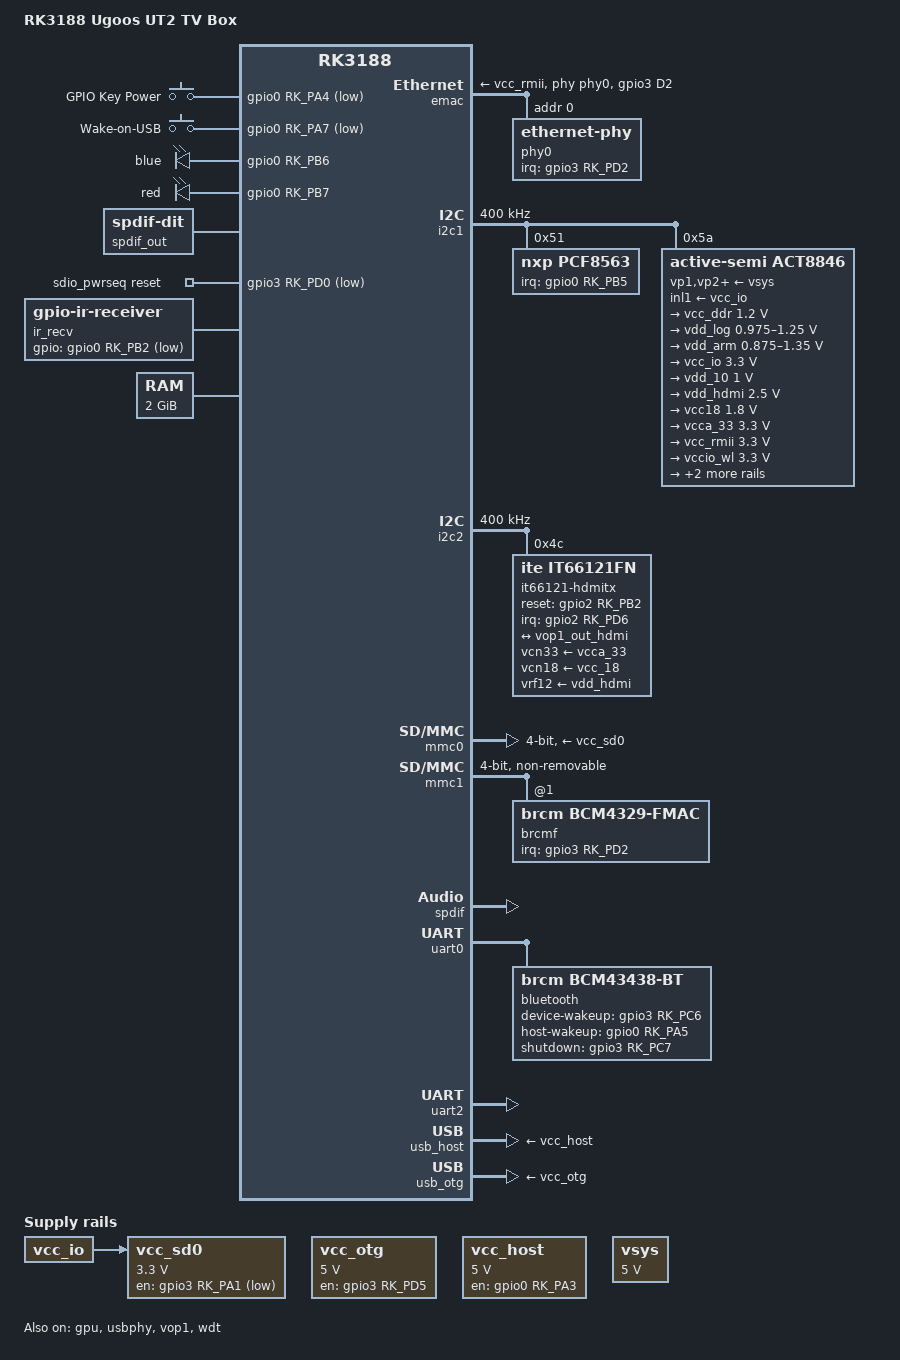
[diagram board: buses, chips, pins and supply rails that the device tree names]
// SPDX-License-Identifier: (GPL-2.0+ OR MIT)
/*
 * Copyright (c) 2013 Heiko Stuebner <heiko@sntech.de>
 */

/dts-v1/;
#include <dt-bindings/input/input.h>
#include "rk3188.dtsi"

/ {
	model = "RK3188 Ugoos UT2 TV Box";

	display-subsystem {
                compatible = "rockchip,display-subsystem";
                ports = <&vop1_out>;
        };

	gpio-keys {
		pinctrl-names = "default";
		pinctrl-0 = <&pwr_key &usb_int>;
		compatible = "gpio-keys";
		autorepeat;

		power {
			gpios = <&gpio0 RK_PA4 GPIO_ACTIVE_LOW>;
			linux,code = <KEY_POWER>;
			label = "GPIO Key Power";
			linux,input-type = <1>;
			wakeup-source;
			debounce-interval = <100>;
		};

		wake_on_usb: wake-on-usb {
			label = "Wake-on-USB";
			gpios = <&gpio0 RK_PA7 GPIO_ACTIVE_LOW>;
			linux,code = <KEY_WAKEUP>;
			wakeup-source;
		};
	};

	gpio-leds {
		compatible = "gpio-leds";

		blue {
			label = "blue";
			gpios = <&gpio0 RK_PB6 GPIO_ACTIVE_HIGH>;
			default-state = "on";
		};

		sleep {
			label = "red";
			gpios = <&gpio0 RK_PB7 GPIO_ACTIVE_HIGH>;
			default-state = "off";
		};
	};

	sound {
		compatible = "simple-audio-card";
		simple-audio-card,name = "SPDIF";

		simple-audio-card,dai-link@1 {  /* S/PDIF - S/PDIF */
			cpu { sound-dai = <&spdif>; };
			codec { sound-dai = <&spdif_out>; };
		};
	};

	spdif_out: spdif-out {
		compatible = "linux,spdif-dit";
		#sound-dai-cells = <0>;
	}

	sdio_pwrseq: sdio-pwrseq {
		compatible = "mmc-pwrseq-simple";
		clocks = <&pcf8563>;
		clock-names = "ext_clock";
		pinctrl-names = "default";
		pinctrl-0 = <&wifi_reg_on>;
		reset-gpios = <&gpio3 RK_PD0 GPIO_ACTIVE_LOW>;
	};

	ir_recv: gpio-ir-receiver {
		compatible = "gpio-ir-receiver";
		gpios = <&gpio0 RK_PB2 GPIO_ACTIVE_LOW>;
		pinctrl-names = "default";
		pinctrl-0 = <&ir_recv_pin>;
	};

	vcc_otg: usb-otg-regulator {
		compatible = "regulator-fixed";
		enable-active-high;
		gpio = <&gpio3 RK_PD5 GPIO_ACTIVE_HIGH>;
		pinctrl-names = "default";
		pinctrl-0 = <&otg_vbus_drv>;
		regulator-name = "otg-vbus";
		regulator-min-microvolt = <5000000>;
		regulator-max-microvolt = <5000000>;
	};

	vcc_sd0: sdmmc-regulator {
		compatible = "regulator-fixed";
		regulator-name = "sdmmc-supply";
		regulator-min-microvolt = <3300000>;
		regulator-max-microvolt = <3300000>;
		gpio = <&gpio3 RK_PA1 GPIO_ACTIVE_LOW>;
		pinctrl-names = "default";
		pinctrl-0 = <&sdmmc_pwr>;
		startup-delay-us = <100000>;
		vin-supply = <&vcc_io>;
	};

	vcc_host: usb-host-regulator {
		compatible = "regulator-fixed";
		enable-active-high;
		gpio = <&gpio0 RK_PA3 GPIO_ACTIVE_HIGH>;
		pinctrl-names = "default";
		pinctrl-0 = <&host_vbus_drv>;
		regulator-name = "host-pwr";
		regulator-min-microvolt = <5000000>;
		regulator-max-microvolt = <5000000>;
	};

	vsys: vsys-regulator {
		compatible = "regulator-fixed";
		regulator-name = "vsys";
		regulator-min-microvolt = <5000000>;
		regulator-max-microvolt = <5000000>;
		regulator-boot-on;
		regulator-always-on;
	};

	memory@60000000 {
                device_type = "memory";
                reg = <0x60000000 0x80000000>;
        };
};

&emac {
	status = "okay";

	pinctrl-names = "default";
	pinctrl-0 = <&emac_xfer>, <&emac_mdio>, <&phy_int>;

	phy = <&phy0>;
	phy-supply = <&vcc_rmii>;

	phy0: ethernet-phy@0 {
		reg = <0>;
		interrupt-parent = <&gpio3>;
		interrupts = <RK_PD2 IRQ_TYPE_LEVEL_LOW>;
	};
};

&cpu0 {
	cpu-supply = <&vdd_arm>;
};

&cpu1 {
	cpu-supply = <&vdd_arm>;
};

&cpu2 {
	cpu-supply = <&vdd_arm>;
};

&cpu3 {
	cpu-supply = <&vdd_arm>;
};

&cpu0_opp_table {
	/delete-node/ opp-1608000000;
};

&cru {

	assigned-clocks = <&cru PLL_GPLL>, <&cru PLL_CPLL>,
			  <&cru ACLK_CPU>,
			  <&cru HCLK_CPU>, <&cru PCLK_CPU>,
			  <&cru ACLK_PERI>, <&cru HCLK_PERI>,
			  <&cru PCLK_PERI>;
	assigned-clock-rates = <594000000>, <504000000>,
			       <300000000>,
			       <150000000>, <75000000>,
			       <300000000>, <150000000>,
			       <75000000>;

	pinctrl-names = "default";
        pinctrl-0 = <&power_on>;
};

&gpu {
	assigned-clocks = <&cru ACLK_GPU>;
	assigned-clock-rates = <300000000>;
	mali-supply = <&vdd_log>;
	status = "okay";
};

&i2c1 {
	status = "okay";
	clock-frequency = <400000>;

	pcf8563: rtc@51 {
		compatible = "nxp,pcf8563";
		reg = <0x51>;
		interrupt-parent = <&gpio0>;
		interrupts = <RK_PB5 IRQ_TYPE_EDGE_FALLING>;
		pinctrl-names = "default";
		pinctrl-0 = <&rtc_int>;
		#clock-cells = <0>;
		clock-output-names = "xin32k";
	};

	act8846: act8846@5a {
		compatible = "active-semi,act8846";
		reg = <0x5a>;
		status = "okay";
		system-power-controller;

		pinctrl-names = "default";
		pinctrl-0 = <&dvs0_ctl &pmic_int>;

		vp1-supply = <&vsys>;
		vp2-supply = <&vsys>;
		vp3-supply = <&vsys>;
		vp4-supply = <&vsys>;
		inl1-supply = <&vcc_io>;
		inl2-supply = <&vsys>;
		inl3-supply = <&vsys>;

		regulators {
			vcc_ddr: REG1 {
				regulator-name = "VCC_DDR";
				regulator-min-microvolt = <1200000>;
				regulator-max-microvolt = <1200000>;
				regulator-always-on;
			};

			vdd_log: REG2 {
				regulator-name = "VDD_LOG";
				regulator-min-microvolt = <975000>;
				regulator-max-microvolt = <1250000>;
				regulator-always-on;
			};

			vdd_arm: REG3 {
				regulator-name = "VDD_ARM";
				regulator-min-microvolt = <875000>;
				regulator-max-microvolt = <1350000>;
				regulator-always-on;
			};

			vcc_io: REG4 {
				regulator-name = "VCC_IO";
				regulator-min-microvolt = <3300000>;
				regulator-max-microvolt = <3300000>;
				regulator-always-on;
			};

			vdd_10: REG5 {
				regulator-name = "VDD_10";
				regulator-min-microvolt = <1000000>;
				regulator-max-microvolt = <1000000>;
				regulator-always-on;
			};

			vdd_hdmi: REG6 {
				regulator-name = "VDD_HDMI";
				regulator-min-microvolt = <2500000>;
				regulator-max-microvolt = <2500000>;
				regulator-always-on;
			};

			vcc18: REG7 {
				regulator-name = "VCC_18";
				regulator-min-microvolt = <1800000>;
				regulator-max-microvolt = <1800000>;
				regulator-always-on;
			};

			vcca_33: REG8 {
				regulator-name = "VCCA_33";
				regulator-min-microvolt = <3300000>;
				regulator-max-microvolt = <3300000>;
				regulator-always-on;
			};

			vcc_rmii: REG9 {
				regulator-name = "VCC_RMII";
				regulator-min-microvolt = <3300000>;
				regulator-max-microvolt = <3300000>;
			};

			vccio_wl: REG10 {
				regulator-name = "VCCIO_WL";
				regulator-min-microvolt = <3300000>;
				regulator-max-microvolt = <3300000>;
				regulator-always-on;
			};

			vcc_18: REG11 {
				regulator-name = "VCC18_IO";
				regulator-min-microvolt = <1800000>;
				regulator-max-microvolt = <1800000>;
				regulator-always-on;
			};

			vcc28: REG12 {
				regulator-name = "VCC_28";
				regulator-min-microvolt = <2800000>;
				regulator-max-microvolt = <2800000>;
				regulator-always-on;
			};
		};
	};
};

&i2c2 {
	clock-frequency = <400000>;
	status = "okay";

	#address-cells = <1>;
	#size-cells = <0>;
	it66121-hdmitx@4c {
		compatible = "ite,it66121fn";
		pinctrl-names = "default";
		pinctrl-0 = <&hdmi_rst &hdmi_int>;
		vcn33-supply = <&vcca_33>;
		vcn18-supply = <&vcc_18>;
		vrf12-supply = <&vdd_hdmi>;
		reset-gpios = <&gpio2 RK_PB2 GPIO_ACTIVE_HIGH>;
		interrupt-parent = <&gpio2>;
		interrupts = <RK_PD6 IRQ_TYPE_EDGE_FALLING>;
		reg = <0x4c>;

		ports {
			hdmi_in: port {
				#address-cells = <1>;
				#size-cells = <0>;
				hdmi_in_vop: endpoint@0 {
					reg = <0>;
					remote-endpoint = <&vop1_out_hdmi>;
				};
			};
		};
	};
};

&mmc0 {
	status = "okay";
	pinctrl-names = "default";
	pinctrl-0 = <&sd0_clk>, <&sd0_cmd>, <&sd0_cd>, <&sd0_bus4>;
	vmmc-supply = <&vcc_sd0>;
	bus-width = <4>;
	cap-mmc-highspeed;
	cap-sd-highspeed;
	disable-wp;
};

&mmc1 {
	bus-width = <4>;
	cap-sd-highspeed;
	keep-power-in-suspend;
	mmc-pwrseq = <&sdio_pwrseq>;
	non-removable;
	pinctrl-names = "default";
	pinctrl-0 = <&sd1_clk>, <&sd1_cmd>, <&sd1_bus4>;
	vmmcq-supply = <&vccio_wl>;
	#address-cells = <1>;
	#size-cells = <0>;
	status = "okay";

	brcmf: wifi@1 {
		reg = <1>;
		compatible = "brcm,bcm4329-fmac";
		interrupt-parent = <&gpio3>;
		interrupts = <RK_PD2 GPIO_ACTIVE_HIGH>;
		interrupt-names = "host-wake";
		brcm,drive-strength = <5>;
		pinctrl-names = "default";
		pinctrl-0 = <&wifi_host_wake>;
	};
};

&pinctrl {
	pcfg_output_high: pcfg-output-high {
		output-high;
	};

	pcfg_output_low: pcfg-output-low {
		output-low;
	};

	act8846 {
		dvs0_ctl: act8846-dvs0-ctl {
			rockchip,pins = <3 RK_PD3 RK_FUNC_GPIO &pcfg_output_low>;
		};

		pmic_int: pmic-int {
			rockchip,pins = <0 RK_PB3 RK_FUNC_GPIO &pcfg_pull_up>;
		};
	};

	keys {
		pwr_hold: pwr-hold {
			rockchip,pins = <0 RK_PA0 RK_FUNC_GPIO &pcfg_pull_up>;
		};

		pwr_key: pwr-key {
			rockchip,pins = <0 RK_PA4 RK_FUNC_GPIO &pcfg_pull_up>;
		};
	};

	ap6210 {
		bt_host_wake: bt-host-wake {
			rockchip,pins = <0 RK_PA5 RK_FUNC_GPIO &pcfg_pull_up>;
		};

		bt_reg_on: bt-reg-on {
			rockchip,pins = <3 RK_PC7 RK_FUNC_GPIO &pcfg_pull_none>;
		};

		/* pin hog to pull the reset high */
		bt_rst: bt-rst {
			rockchip,pins = <3 RK_PD1 RK_FUNC_GPIO &pcfg_output_high>;
		};

		bt_wake: bt-wake {
			rockchip,pins = <3 RK_PC6 RK_FUNC_GPIO &pcfg_pull_none>;
		};

		wifi_host_wake: wifi-host-wake {
			rockchip,pins = <3 RK_PD2 RK_FUNC_GPIO &pcfg_pull_up>;
		};

		wifi_reg_on: wifi-reg-on {
			rockchip,pins = <3 RK_PD0 RK_FUNC_GPIO &pcfg_pull_none>;
		};
	};

	lan8720a  {
		phy_int: phy-int {
			rockchip,pins = <3 RK_PD2 RK_FUNC_GPIO &pcfg_pull_up>;
		};
	};

	hdmi {
		hdmi_int: hdmi-int {
			rockchip,pins = <2 RK_PD6 RK_FUNC_GPIO &pcfg_pull_up>;
		};

		hdmi_rst: hdmi-rst {
			rockchip,pins = <3 RK_PB2 RK_FUNC_GPIO &pcfg_pull_none>;
		};
	};

	ir-receiver {
		ir_recv_pin: ir-recv-pin {
			rockchip,pins = <0 RK_PB2 RK_FUNC_GPIO &pcfg_pull_none>;
		};
	};

	pcf8563 {
		rtc_int: rtc-int {
			rockchip,pins = <0 RK_PB5 RK_FUNC_GPIO &pcfg_pull_up>;
		};
	};

	poweron {
		power_on: power-on {
                        rockchip,pins = <0 RK_PA0 RK_FUNC_GPIO &pcfg_pull_up>;
                };
	};

	sd0 {
		sdmmc_pwr: sdmmc-pwr {
			rockchip,pins = <3 RK_PA1 RK_FUNC_GPIO &pcfg_pull_none>;
		};
	};

	usb {
		host_vbus_drv: host-vbus-drv {
			rockchip,pins = <0 RK_PA3 RK_FUNC_GPIO &pcfg_pull_none>;
		};
		otg_vbus_drv: otg-vbus-drv {
			rockchip,pins = <3 RK_PD5 RK_FUNC_GPIO &pcfg_pull_none>;
		};
		usb_int: usb-int {
			rockchip,pins = <0 RK_PA7 RK_FUNC_GPIO &pcfg_pull_up>;
		};
	};
};

&spdif {
	status = "okay";
};

&uart0 {
	pinctrl-0 = <&uart0_xfer &uart0_cts &uart0_rts>;
	status = "okay";

	bluetooth {
		compatible = "brcm,bcm43438-bt";
		device-wakeup-gpios = <&gpio3 RK_PC6 GPIO_ACTIVE_HIGH>;
		host-wakeup-gpios = <&gpio0 RK_PA5 GPIO_ACTIVE_HIGH>;
		shutdown-gpios = <&gpio3 RK_PC7 GPIO_ACTIVE_HIGH>;
		pinctrl-names = "default";
		pinctrl-0 = <&bt_host_wake &bt_reg_on &bt_rst &bt_wake>;
	};
};

&uart2 {
	status = "okay";
};

&usbphy {
	status = "okay";
};

&usb_host {
	vbus-supply = <&vcc_host>;
	status = "okay";
};

&usb_otg {
	vbus-supply = <&vcc_otg>;
	status = "okay";
};

&vop1 {
	pinctrl-names = "default";
	pinctrl-0 = <&lcdc1_dclk &lcdc1_den &lcdc1_hsync
		     &lcdc1_vsync &lcdc1_rgb24>;
	status = "okay";

	vop1_out: port {

		#address-cells = <1>;
		#size-cells = <0>;
		vop1_out_hdmi: endpoint@0 {
			reg = <0>;
			remote-endpoint = <&hdmi_in_vop>;
		};
	};
};

&wdt {
	status = "okay";
};
